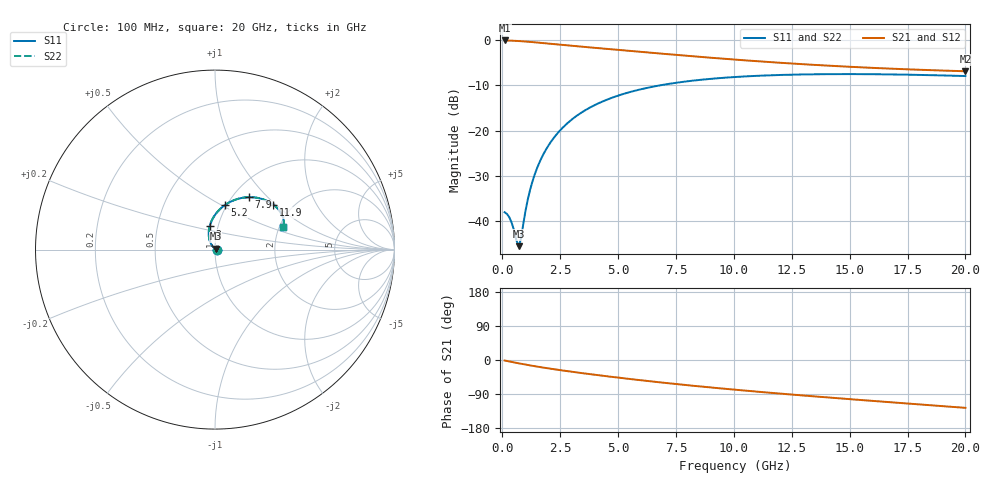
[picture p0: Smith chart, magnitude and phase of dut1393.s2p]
! Touchstone file exported from HFSS 2024.1.0
!  File:  C:/UserFiles/LocalFiles/RDL_TSV_Batchsim/temp_RDL_TSV_1393_1780404492.aedt
!  Generated:  09:02:15 PM Jun  2, 2026
!  Design:  RDL_TSV
!  Project:  temp_RDL_TSV_1393_1780404492
!  Setup:  Setup1
!  Solution:  Sweep
! Variables:
!  dtsv = 13.53um
!  hbump = 3um
!  htsv = 54.19um
!  ldown = 234.79um
!  lrdl = 232.02um
!  p = 40
!  p1 = 54.98um
!  rhole = 10um
!  subl = 1632.45um
!  t = 450um
!  tdown = 3.54um
!  trdl = 3.2um
!  viad = 10um
!  wdown = 12.81um
!  wrdl = 14.7um
!  xbump = 18um
# GHz S MA R 50.000000
! Terminal data exported
! Port[1] = TM1_1_T1
! Port[2] = TM1_4_T1
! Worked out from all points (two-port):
!   200 points, 100 MHz to 20 GHz, reference 50 ohm
!   highest |S21| = -0.12 dB at 100 MHz (marker M1); lowest = -6.9 dB at 20 GHz (marker M2)
!   |S21| within 3 dB of the highest: start of sweep to 7.088 GHz
!   lowest |S11| = -45.5 dB at 700 MHz (marker M3), VSWR 1.01, Z = 50.3 + j0.453 ohm
!   |S11| at or under -10 dB: start of sweep to 6.825 GHz
!   |S22| runs from -45.5 to -7.5 dB; largest |S21 - S12| = 1.4e-14
!   S11 on the Smith chart (normalised r, x): 100 MHz: 1.03, +0.00; 3 GHz: 0.91, +0.24; 5.2 GHz: 0.98, +0.52; 7.9 GHz: 1.18, +0.79; 11.9 GHz: 1.61, +0.97; 20 GHz: 2.09, +0.63
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0.1  0.01261 1.5  0.9868 -1.3  0.9868 -1.3  0.01261 1.5
! Gamma 0 0 0 0
! Port Impedance 50 0 50 0
0.3  0.01113 5.1  0.9841 -3.8  0.9841 -3.8  0.01113 5.1
0.4  0.009764 8.5  0.9819 -5.0  0.9819 -5.0  0.009761 8.5
0.7  0.005327 57.7  0.9728 -8.6  0.9728 -8.6  0.005327 57.8
0.8  0.006305 90.4  0.969 -9.8  0.969 -9.8  0.006312 90.5
1  0.01296 119.3  0.9607 -12.0  0.9607 -12.0  0.01297 119.3
1.2  0.02224 125.2  0.9515 -14.2  0.9515 -14.2  0.02226 125.2
1.4  0.03285 125.3  0.9418 -16.3  0.9418 -16.3  0.03288 125.3
1.6  0.04435 123.4  0.9317 -18.4  0.9317 -18.4  0.04439 123.4
1.9  0.06266 119.3  0.9164 -21.3  0.9164 -21.3  0.06272 119.3
2.2  0.08167 114.8  0.9012 -24.1  0.9012 -24.1  0.08174 114.8
3  0.1326 102.9  0.8626 -31.0  0.8626 -31.0  0.1327 102.9
3.5  0.1631 96.3  0.8399 -35.1  0.8399 -35.1  0.1632 96.3
4.3  0.2081 86.9  0.8056 -41.3  0.8056 -41.3  0.2083 86.9
5.2  0.2526 77.8  0.7691 -47.9  0.7691 -47.9  0.2528 77.8
6.8  0.3154 64.5  0.7088 -58.9  0.7088 -58.9  0.3156 64.5
7.9  0.3477 57.1  0.6711 -65.9  0.6711 -65.9  0.3479 57.1
10.1  0.391 45.2  0.6057 -78.7  0.6057 -78.7  0.3912 45.2
11.9  0.4102 37.6  0.5622 -88.2  0.5622 -88.2  0.4104 37.6
13.4  0.4181 32.4  0.5323 -95.6  0.5323 -95.6  0.4183 32.4
16.7  0.4171 23.8  0.4832 -111.2  0.4832 -111.2  0.4172 23.8
20  0.3998 18.5  0.4517 -126.3  0.4517 -126.3  0.4 18.6
